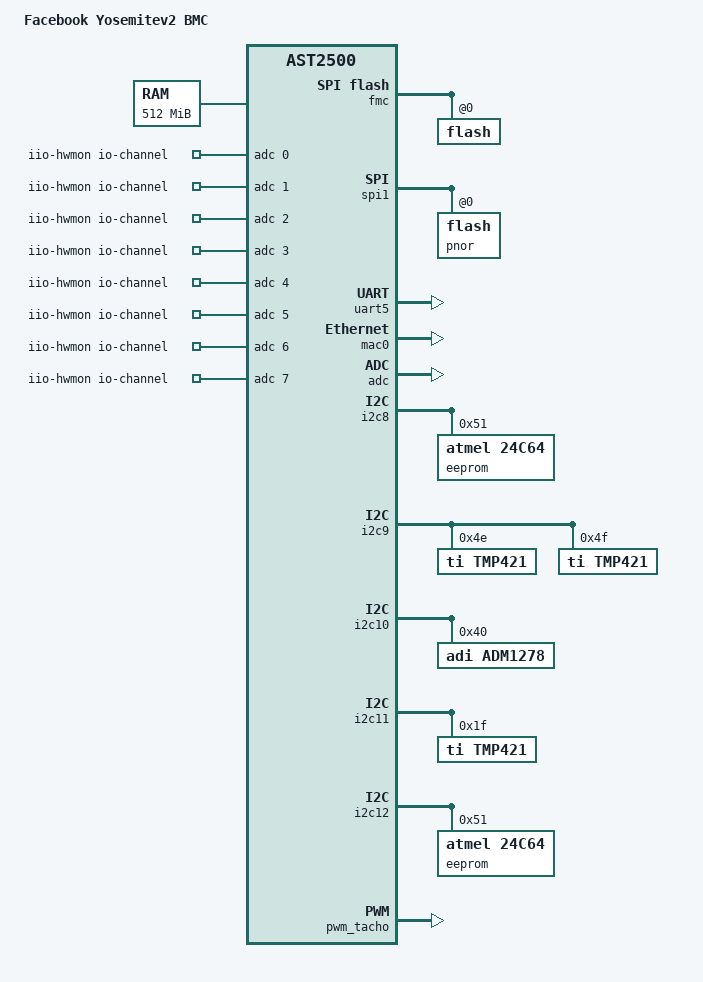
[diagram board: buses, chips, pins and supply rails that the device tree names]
// SPDX-License-Identifier: GPL-2.0-or-later
// Copyright (c) 2018 Facebook Inc.

/dts-v1/;

#include "aspeed-g5.dtsi"
/ {
	model = "Facebook Yosemitev2 BMC";
	compatible = "facebook,yosemitev2-bmc", "aspeed,ast2500";

	aliases {
		serial4 = &uart5;
	};

	chosen {
		stdout-path = &uart5;
	};

	memory@80000000 {
		reg = <0x80000000 0x20000000>;
	};

	iio-hwmon {
		// Voltage sensor
		compatible = "iio-hwmon";
		io-channels = <&adc 0> , <&adc 1> , <&adc 2> ,  <&adc 3> ,
		<&adc 4> , <&adc 5> , <&adc 6> ,  <&adc 7> ,
		<&adc 8> , <&adc 9> , <&adc 10>, <&adc 11> ,
		<&adc 12> , <&adc 13> , <&adc 14> , <&adc 15> ;
	};
};

&fmc {
	status = "okay";
	flash@0 {
		status = "okay";
		m25p,fast-read;
#include "openbmc-flash-layout.dtsi"
	};
};

&spi1 {
	status = "okay";
	pinctrl-names = "default";
	pinctrl-0 = <&pinctrl_spi1_default>;
	flash@0 {
		status = "okay";
		m25p,fast-read;
		label = "pnor";
	};
};

&uart5 {
	// BMC Console
	status = "okay";
};

&mac0 {
	status = "okay";
	pinctrl-names = "default";
	pinctrl-0 = <&pinctrl_rmii1_default>;
	mlx,multi-host;
	use-ncsi;
};

&adc {
	status = "okay";
	pinctrl-names = "default";
	pinctrl-0 = <&pinctrl_adc0_default
			&pinctrl_adc1_default
			&pinctrl_adc2_default
			&pinctrl_adc3_default
			&pinctrl_adc4_default
			&pinctrl_adc5_default
			&pinctrl_adc6_default
			&pinctrl_adc7_default
			&pinctrl_adc8_default
			&pinctrl_adc9_default
			&pinctrl_adc10_default
			&pinctrl_adc11_default
			&pinctrl_adc12_default
			&pinctrl_adc13_default
			&pinctrl_adc14_default
			&pinctrl_adc15_default>;
};

&i2c8 {
	//FRU EEPROM
	status = "okay";
	eeprom@51 {
		compatible = "atmel,24c64";
		reg = <0x51>;
		pagesize = <32>;
	};
};

&i2c9 {
	// Inlet and outlet temp
	status = "okay";
	tmp421@4e {
		compatible = "ti,tmp421";
		reg = <0x4e>;
	};
	tmp421@4f {
		compatible = "ti,tmp421";
		reg = <0x4f>;
	};
};

&i2c10 {
	// HSC
	status = "okay";
	adm1278@40 {
		compatible = "adi,adm1278";
		reg = <0x40>;
	};
};

&i2c11 {
	// MEZZ_TEMP_SENSOR
	status = "okay";
	tmp421@1f {
		compatible = "ti,tmp421";
		reg = <0x1f>;
	};
};

&i2c12 {
	// MEZZ_FRU
	status = "okay";
	eeprom@51 {
		compatible = "atmel,24c64";
		reg = <0x51>;
		pagesize = <32>;
	};
};

&pwm_tacho {
	// FSC
	status = "okay";
	pinctrl-names = "default";
	pinctrl-0 = <&pinctrl_pwm0_default &pinctrl_pwm1_default>;
	fan@0 {
		reg = <0x00>;
		aspeed,fan-tach-ch = /bits/ 8 <0x00>;
	};
	fan@1 {
		reg = <0x01>;
		aspeed,fan-tach-ch = /bits/ 8 <0x01>;
	};
};
